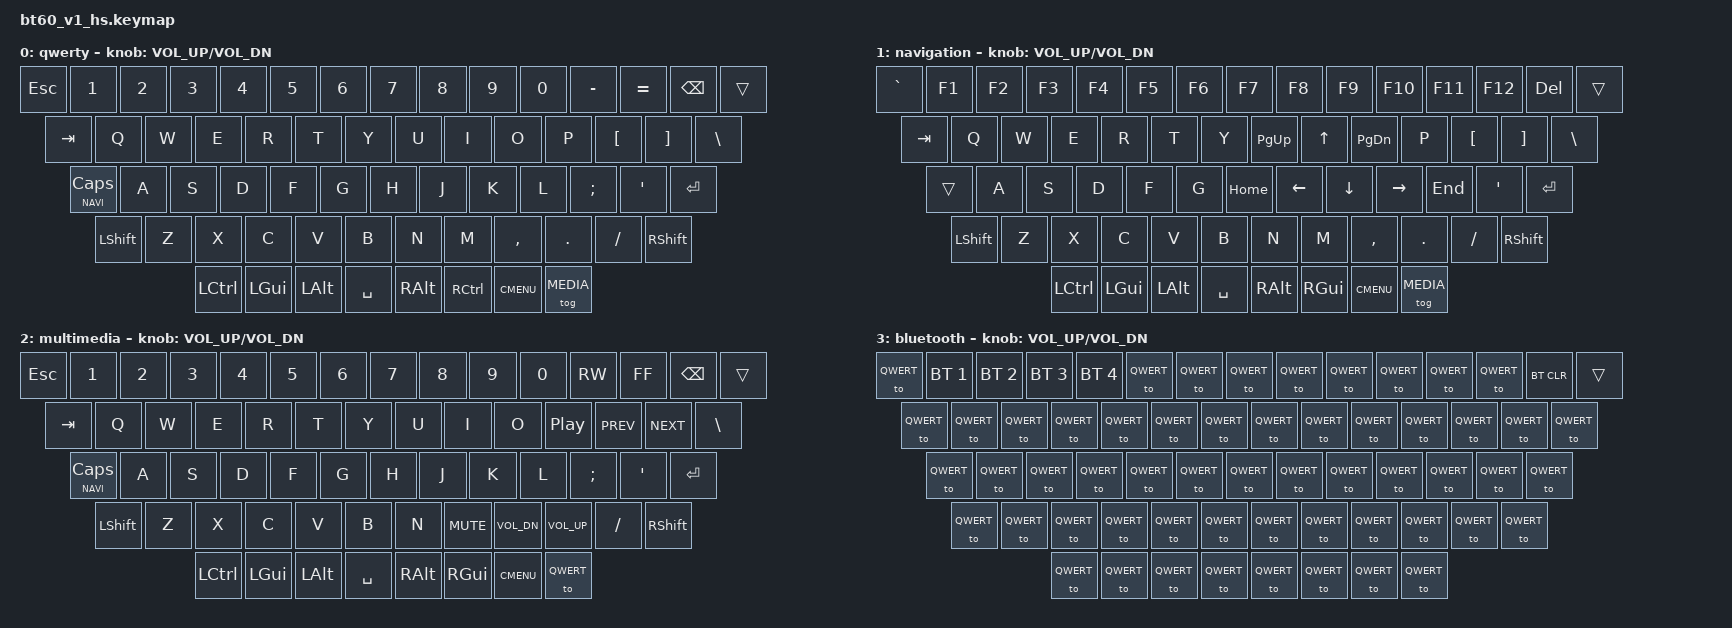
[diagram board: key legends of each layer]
#include <behaviors.dtsi>
#include <dt-bindings/zmk/keys.h>
#include <dt-bindings/zmk/bt.h>

#define QWERT  0
#define NAVI   1
#define MEDIA  2
#define BT     3

/ {
	combos {
		compatible = "zmk,combos";
		combo_esc {
			timeout-ms = <1000>;
			key-positions = <16 19 22 25>;
			bindings = <&to BT>;
		};
	};
	keymap {
		compatible = "zmk,keymap";

		qwerty {
				// ------------------------------------------------------------------------------------------
				// | ESC |  1  |  2  |  3  |  4  |  5  |  6  |  7  |  8  |  9  |  0  |  -  |  =  |   BKSP   | DEL
				// | TAB  |  Q  |  W  |  E  |  R  |  T  |  Y  |  U  |  I  |  O  |  P  |  [  |  ]  |   |    |
				// | CAPS  |  A  |  S  |  D  |  F  |  G  |  H  |  J  |  K  |  L  |  ;  |  '  |     ENTER    |
				// |  SHIFT    |  Z  |  X  |  C  |  V  |  B  |  N  |  M  |  ,  |  .  | /   |      SHIFT     |
				// |  CTL  |  WIN  |  ALT  |            SPACE               | ALT | 1    |  MENU    |  CTRL    |
				// ------------------------------------------------------------------------------------------
			bindings = <
				&kp ESC &kp N1 &kp N2 &kp N3 &kp N4 &kp N5 &kp N6 &kp N7 &kp  N8   &kp  N9 &kp  N0  &kp MINUS &kp EQUAL &kp BSPC &trans
				&kp TAB  &kp Q  &kp W  &kp E  &kp R  &kp T  &kp Y  &kp U  &kp  I    &kp  O  &kp  P   &kp LBKT &kp RBKT  &kp BSLH
				&lt NAVI CAPS  &kp A  &kp S  &kp D  &kp F  &kp G  &kp H  &kp J  &kp  K    &kp  L  &kp SEMI &kp SQT           &kp RET
				&kp LSHFT  &kp Z  &kp X  &kp C  &kp V  &kp B  &kp N  &kp M  &kp COMMA &kp DOT &kp FSLH             &kp RSHFT
				&kp LCTRL &kp LGUI &kp LALT            &kp SPACE                          &kp RALT  &kp RCTRL &kp K_CMENU &tog MEDIA
			>;
			sensor-bindings = <&inc_dec_kp C_VOL_UP C_VOL_DN>;
		};
		navigation {
			bindings = <
				&kp GRAVE &kp F1 &kp F2 &kp F3 &kp F4 &kp F5 &kp F6 &kp F7 &kp  F8   &kp  F9 &kp  F10  &kp F11 &kp F12   &kp DEL &trans
				&kp TAB  &kp Q &kp W &kp E &kp R &kp T &kp Y &kp PG_UP &kp UP &kp PG_DN &kp P &kp LBKT &kp RBKT &kp BSLH
				&trans    &kp A &kp S &kp D &kp F &kp G &kp HOME &kp LEFT &kp DOWN &kp RIGHT &kp END &kp SQT &kp RET
				&kp LSHFT  &kp Z  &kp X  &kp C  &kp V  &kp B  &kp N  &kp M  &kp COMMA &kp DOT &kp FSLH             &kp RSHFT
				&kp LCTRL &kp LGUI &kp LALT             &kp SPACE                        &kp RALT  &kp RGUI &kp K_CMENU &tog MEDIA
			>;
			sensor-bindings = <&inc_dec_kp C_VOL_UP C_VOL_DN>;
		};
		multimedia {
			bindings = <
				&kp ESC &kp N1 &kp N2 &kp N3 &kp N4 &kp N5 &kp N6 &kp N7 &kp  N8   &kp  N9 &kp  N0  &kp C_RW &kp C_FF &kp BSPC &trans
				&kp TAB  &kp Q  &kp W  &kp E  &kp R  &kp T  &kp Y  &kp U  &kp  I    &kp  O  &kp C_PLAY_PAUSE   &kp C_PREV &kp C_NEXT  &kp BSLH
				&lt NAVI CAPS  &kp A  &kp S  &kp D  &kp F  &kp G  &kp H  &kp J  &kp  K    &kp  L  &kp SEMI &kp SQT           &kp RET
				&kp LSHFT  &kp Z  &kp X  &kp C  &kp V  &kp B  &kp N  &kp C_MUTE  &kp C_VOL_DN &kp C_VOL_UP &kp FSLH             &kp RSHFT
				&kp LCTRL &kp LGUI &kp LALT            &kp SPACE                          &kp RALT  &kp RGUI &kp K_CMENU &to QWERT
			>;
			sensor-bindings = <&inc_dec_kp C_VOL_UP C_VOL_DN>;
		};
		bluetooth {
			bindings = <
				&to QWERT &bt BT_SEL 1 &bt BT_SEL 2 &bt BT_SEL 3 &bt BT_SEL 4 &to QWERT &to QWERT &to QWERT &to QWERT &to QWERT &to QWERT &to QWERT &to QWERT &bt BT_CLR &trans
				&to QWERT &to QWERT &to QWERT &to QWERT &to QWERT &to QWERT &to QWERT &to QWERT &to QWERT &to QWERT &to QWERT &to QWERT &to QWERT &to QWERT
				&to QWERT &to QWERT &to QWERT &to QWERT &to QWERT &to QWERT &to QWERT &to QWERT &to QWERT &to QWERT &to QWERT &to QWERT &to QWERT
				&to QWERT &to QWERT &to QWERT &to QWERT &to QWERT &to QWERT &to QWERT &to QWERT &to QWERT &to QWERT &to QWERT &to QWERT
				&to QWERT &to QWERT &to QWERT              &to QWERT                            &to QWERT   &to QWERT   &to QWERT &to QWERT
			>;
			sensor-bindings = <&inc_dec_kp C_VOL_UP C_VOL_DN>;
		};
	};
};
